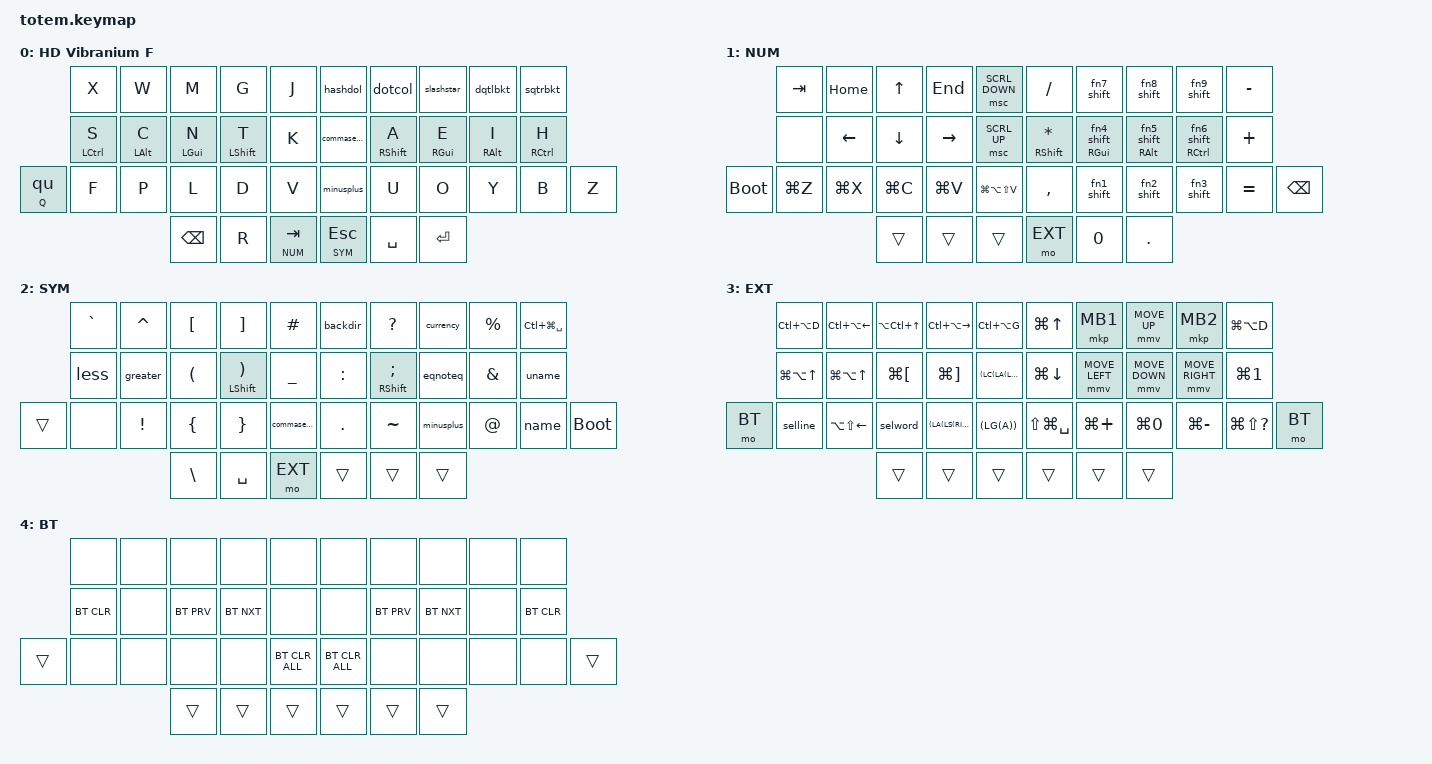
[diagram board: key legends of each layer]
//
//                                                        ▀▀▀▀▀     ▀▀▀▀▀          ▀▀█▀▀
//                                                        ▄▀▀▀▄  ▄  ▄▀▀▀▄  ▄  ▄▀▀▀▄  █  ▄▀▀▀▄
//                                                        █   █  █  █   █  █  █   █  █  █   █
//                                                         ▀▀▀   █   ▀▀▀   █   ▀▀▀   ▀   ▀▀▀
//                                                               █      ▄▄▄█▄▄▄    █   █  
//                                                               ▀      █  █  █     █▄█
//                                                             ▀▀▀▀▀    █  █  █      ▀
//                                                                      ▀  ▀  ▀
//
// ▄▄▄▄▄▄▄▄▄▄▄▄▄▄▄▄▄▄▄▄▄▄▄▄▄▄▄▄▄▄▄▄▄▄▄▄▄▄▄▄▄▄▄▄▄▄▄▄▄▄▄▄▄▄▄▄▄▄▄▄▄▄▄▄▄▄▄▄▄▄▄▄▄▄▄▄▄▄▄▄▄▄▄▄▄▄▄▄▄▄▄▄▄▄▄▄▄▄▄▄▄▄▄▄▄▄▄▄▄▄▄▄▄▄▄▄▄▄▄▄▄▄▄▄▄▄▄▄▄▄▄▄▄▄▄▄▄▄▄▄▄▄▄▄▄▄▄▄▄
       

#include <behaviors.dtsi>
#include <dt-bindings/zmk/keys.h>
#include <dt-bindings/zmk/bt.h>
#include <dt-bindings/zmk/outputs.h>
#include <dt-bindings/zmk/pointing.h>

#define BASE 0
#define NUM  1
#define SYM  2
#define EXT  3
#define BT   4



/ {
     custom_shift {
            dotcol: dot_colon {
                compatible = "zmk,behavior-mod-morph";
                #binding-cells = <0>;
                bindings = <&kp DOT>, <&kp COLON>;
                mods = <(MOD_LSFT|MOD_RSFT)>;
            };
            commasemi: comma_semi {
                compatible = "zmk,behavior-mod-morph";
                #binding-cells = <0>;
                bindings = <&kp COMMA>, <&kp SEMI>;
                mods = <(MOD_LSFT|MOD_RSFT)>;
            };
            hashdol: hash_dollar {
                compatible = "zmk,behavior-mod-morph";
                #binding-cells = <0>;
                bindings = <&kp HASH>, <&kp DOLLAR>;
                mods = <(MOD_LSFT|MOD_RSFT)>;
            };
            slashstar: slash_star {
                compatible = "zmk,behavior-mod-morph";
                #binding-cells = <0>;
                bindings = <&kp SLASH>, <&kp STAR>;
                mods = <(MOD_LSFT|MOD_RSFT)>;
            };
            dqtlbkt: dqt_lbkt {
                compatible = "zmk,behavior-mod-morph";
                #binding-cells = <0>;
                bindings = <&kp DQT>, <&kp LBKT>;
                mods = <(MOD_LSFT|MOD_RSFT)>;
            };
            sqtrbkt: sqt_rbkt {
                compatible = "zmk,behavior-mod-morph";
                #binding-cells = <0>;
                bindings = <&kp SQT>, <&kp RBKT>;
                mods = <(MOD_LSFT|MOD_RSFT)>;
            };
            minusplus: minus_plus {
                compatible = "zmk,behavior-mod-morph";
                #binding-cells = <0>;
                bindings = <&kp MINUS>, <&kp PLUS>;
                mods = <(MOD_LSFT|MOD_RSFT)>;
            };
            eqnoteq: eqnoteq {
                compatible = "zmk,behavior-mod-morph";
                #binding-cells = <0>;
                bindings = <&kp EQUAL>, <&notequal>;
                mods = <(MOD_LSFT|MOD_RSFT)>;
            };
            uname: uname {
                compatible = "zmk,behavior-mod-morph";
                #binding-cells = <0>;
                bindings = <&username>, <&email>;
                mods = <(MOD_LSFT|MOD_RSFT)>;
            };
            name: name {
                compatible = "zmk,behavior-mod-morph";
                #binding-cells = <0>;
                bindings = <&firstname>, <&lastname>;
                mods = <(MOD_LSFT|MOD_RSFT)>;
            };
            currency: currency {
                compatible = "zmk,behavior-mod-morph";
                #binding-cells = <0>;
                bindings = <&kp DOLLAR>, <&kp LA(LS(N2))>;
                mods = <(MOD_LSFT|MOD_RSFT)>;
            };
            less: less {
                compatible = "zmk,behavior-mod-morph";
                #binding-cells = <0>;
                bindings = <&kp LT>, <&lessequal>;
                mods = <(MOD_LSFT|MOD_RSFT)>;
            };
            greater: greater {
                compatible = "zmk,behavior-mod-morph";
                #binding-cells = <0>;
                bindings = <&kp GT>, <&greaterequal>;
                mods = <(MOD_LSFT|MOD_RSFT)>;
            };
            // Shift + Command + Alt + a number sends its bare F key.
            // Keep modifiers during the checks so partial chords remain unchanged;
            // the final morph masks them only after all three have matched.
            fn1_shift: fn1_shift {
                compatible = "zmk,behavior-mod-morph";
                #binding-cells = <0>;
                bindings = <&kp N1>, <&fn1_gui>;
                mods = <(MOD_LSFT|MOD_RSFT)>;
                keep-mods = <(MOD_LSFT|MOD_RSFT)>;
            };
            fn1_gui: fn1_gui {
                compatible = "zmk,behavior-mod-morph";
                #binding-cells = <0>;
                bindings = <&kp N1>, <&fn1_alt>;
                mods = <(MOD_LGUI|MOD_RGUI)>;
                keep-mods = <(MOD_LGUI|MOD_RGUI)>;
            };
            fn1_alt: fn1_alt {
                compatible = "zmk,behavior-mod-morph";
                #binding-cells = <0>;
                bindings = <&kp N1>, <&fn1_clean>;
                mods = <(MOD_LALT|MOD_RALT)>;
                keep-mods = <(MOD_LALT|MOD_RALT)>;
            };
            fn1_clean: fn1_clean {
                compatible = "zmk,behavior-mod-morph";
                #binding-cells = <0>;
                bindings = <&kp N1>, <&kp F1>;
                mods = <(MOD_LSFT|MOD_RSFT|MOD_LGUI|MOD_RGUI|MOD_LALT|MOD_RALT)>;
            };
            fn2_shift: fn2_shift {
                compatible = "zmk,behavior-mod-morph";
                #binding-cells = <0>;
                bindings = <&kp N2>, <&fn2_gui>;
                mods = <(MOD_LSFT|MOD_RSFT)>;
                keep-mods = <(MOD_LSFT|MOD_RSFT)>;
            };
            fn2_gui: fn2_gui {
                compatible = "zmk,behavior-mod-morph";
                #binding-cells = <0>;
                bindings = <&kp N2>, <&fn2_alt>;
                mods = <(MOD_LGUI|MOD_RGUI)>;
                keep-mods = <(MOD_LGUI|MOD_RGUI)>;
            };
            fn2_alt: fn2_alt {
                compatible = "zmk,behavior-mod-morph";
                #binding-cells = <0>;
                bindings = <&kp N2>, <&fn2_clean>;
                mods = <(MOD_LALT|MOD_RALT)>;
                keep-mods = <(MOD_LALT|MOD_RALT)>;
            };
            fn2_clean: fn2_clean {
                compatible = "zmk,behavior-mod-morph";
                #binding-cells = <0>;
                bindings = <&kp N2>, <&kp F2>;
                mods = <(MOD_LSFT|MOD_RSFT|MOD_LGUI|MOD_RGUI|MOD_LALT|MOD_RALT)>;
            };
            fn3_shift: fn3_shift {
                compatible = "zmk,behavior-mod-morph";
                #binding-cells = <0>;
                bindings = <&kp N3>, <&fn3_gui>;
                mods = <(MOD_LSFT|MOD_RSFT)>;
                keep-mods = <(MOD_LSFT|MOD_RSFT)>;
            };
            fn3_gui: fn3_gui {
                compatible = "zmk,behavior-mod-morph";
                #binding-cells = <0>;
                bindings = <&kp N3>, <&fn3_alt>;
                mods = <(MOD_LGUI|MOD_RGUI)>;
                keep-mods = <(MOD_LGUI|MOD_RGUI)>;
            };
            fn3_alt: fn3_alt {
                compatible = "zmk,behavior-mod-morph";
                #binding-cells = <0>;
                bindings = <&kp N3>, <&fn3_clean>;
                mods = <(MOD_LALT|MOD_RALT)>;
                keep-mods = <(MOD_LALT|MOD_RALT)>;
            };
            fn3_clean: fn3_clean {
                compatible = "zmk,behavior-mod-morph";
                #binding-cells = <0>;
                bindings = <&kp N3>, <&kp F3>;
                mods = <(MOD_LSFT|MOD_RSFT|MOD_LGUI|MOD_RGUI|MOD_LALT|MOD_RALT)>;
            };
            fn4_shift: fn4_shift {
                compatible = "zmk,behavior-mod-morph";
                #binding-cells = <0>;
                bindings = <&kp N4>, <&fn4_gui>;
                mods = <(MOD_LSFT|MOD_RSFT)>;
                keep-mods = <(MOD_LSFT|MOD_RSFT)>;
            };
            fn4_gui: fn4_gui {
                compatible = "zmk,behavior-mod-morph";
                #binding-cells = <0>;
                bindings = <&kp N4>, <&fn4_alt>;
                mods = <(MOD_LGUI|MOD_RGUI)>;
                keep-mods = <(MOD_LGUI|MOD_RGUI)>;
            };
            fn4_alt: fn4_alt {
                compatible = "zmk,behavior-mod-morph";
                #binding-cells = <0>;
                bindings = <&kp N4>, <&fn4_clean>;
                mods = <(MOD_LALT|MOD_RALT)>;
                keep-mods = <(MOD_LALT|MOD_RALT)>;
            };
            fn4_clean: fn4_clean {
                compatible = "zmk,behavior-mod-morph";
                #binding-cells = <0>;
                bindings = <&kp N4>, <&kp F4>;
                mods = <(MOD_LSFT|MOD_RSFT|MOD_LGUI|MOD_RGUI|MOD_LALT|MOD_RALT)>;
            };
            fn5_shift: fn5_shift {
                compatible = "zmk,behavior-mod-morph";
                #binding-cells = <0>;
                bindings = <&kp N5>, <&fn5_gui>;
                mods = <(MOD_LSFT|MOD_RSFT)>;
                keep-mods = <(MOD_LSFT|MOD_RSFT)>;
            };
            fn5_gui: fn5_gui {
                compatible = "zmk,behavior-mod-morph";
                #binding-cells = <0>;
                bindings = <&kp N5>, <&fn5_alt>;
                mods = <(MOD_LGUI|MOD_RGUI)>;
                keep-mods = <(MOD_LGUI|MOD_RGUI)>;
            };
            fn5_alt: fn5_alt {
                compatible = "zmk,behavior-mod-morph";
                #binding-cells = <0>;
                bindings = <&kp N5>, <&fn5_clean>;
                mods = <(MOD_LALT|MOD_RALT)>;
                keep-mods = <(MOD_LALT|MOD_RALT)>;
            };
            fn5_clean: fn5_clean {
                compatible = "zmk,behavior-mod-morph";
                #binding-cells = <0>;
                bindings = <&kp N5>, <&kp F5>;
                mods = <(MOD_LSFT|MOD_RSFT|MOD_LGUI|MOD_RGUI|MOD_LALT|MOD_RALT)>;
            };
            fn6_shift: fn6_shift {
                compatible = "zmk,behavior-mod-morph";
                #binding-cells = <0>;
                bindings = <&kp N6>, <&fn6_gui>;
                mods = <(MOD_LSFT|MOD_RSFT)>;
                keep-mods = <(MOD_LSFT|MOD_RSFT)>;
            };
            fn6_gui: fn6_gui {
                compatible = "zmk,behavior-mod-morph";
                #binding-cells = <0>;
                bindings = <&kp N6>, <&fn6_alt>;
                mods = <(MOD_LGUI|MOD_RGUI)>;
                keep-mods = <(MOD_LGUI|MOD_RGUI)>;
            };
            fn6_alt: fn6_alt {
                compatible = "zmk,behavior-mod-morph";
                #binding-cells = <0>;
                bindings = <&kp N6>, <&fn6_clean>;
                mods = <(MOD_LALT|MOD_RALT)>;
                keep-mods = <(MOD_LALT|MOD_RALT)>;
            };
            fn6_clean: fn6_clean {
                compatible = "zmk,behavior-mod-morph";
                #binding-cells = <0>;
                bindings = <&kp N6>, <&kp F6>;
                mods = <(MOD_LSFT|MOD_RSFT|MOD_LGUI|MOD_RGUI|MOD_LALT|MOD_RALT)>;
            };
            fn7_shift: fn7_shift {
                compatible = "zmk,behavior-mod-morph";
                #binding-cells = <0>;
                bindings = <&kp N7>, <&fn7_gui>;
                mods = <(MOD_LSFT|MOD_RSFT)>;
                keep-mods = <(MOD_LSFT|MOD_RSFT)>;
            };
            fn7_gui: fn7_gui {
                compatible = "zmk,behavior-mod-morph";
                #binding-cells = <0>;
                bindings = <&kp N7>, <&fn7_alt>;
                mods = <(MOD_LGUI|MOD_RGUI)>;
                keep-mods = <(MOD_LGUI|MOD_RGUI)>;
            };
            fn7_alt: fn7_alt {
                compatible = "zmk,behavior-mod-morph";
                #binding-cells = <0>;
                bindings = <&kp N7>, <&fn7_clean>;
                mods = <(MOD_LALT|MOD_RALT)>;
                keep-mods = <(MOD_LALT|MOD_RALT)>;
            };
            fn7_clean: fn7_clean {
                compatible = "zmk,behavior-mod-morph";
                #binding-cells = <0>;
                bindings = <&kp N7>, <&kp F7>;
                mods = <(MOD_LSFT|MOD_RSFT|MOD_LGUI|MOD_RGUI|MOD_LALT|MOD_RALT)>;
            };
            fn8_shift: fn8_shift {
                compatible = "zmk,behavior-mod-morph";
                #binding-cells = <0>;
                bindings = <&kp N8>, <&fn8_gui>;
                mods = <(MOD_LSFT|MOD_RSFT)>;
                keep-mods = <(MOD_LSFT|MOD_RSFT)>;
            };
            fn8_gui: fn8_gui {
                compatible = "zmk,behavior-mod-morph";
                #binding-cells = <0>;
                bindings = <&kp N8>, <&fn8_alt>;
                mods = <(MOD_LGUI|MOD_RGUI)>;
                keep-mods = <(MOD_LGUI|MOD_RGUI)>;
            };
            fn8_alt: fn8_alt {
                compatible = "zmk,behavior-mod-morph";
                #binding-cells = <0>;
                bindings = <&kp N8>, <&fn8_clean>;
                mods = <(MOD_LALT|MOD_RALT)>;
                keep-mods = <(MOD_LALT|MOD_RALT)>;
            };
            fn8_clean: fn8_clean {
                compatible = "zmk,behavior-mod-morph";
                #binding-cells = <0>;
                bindings = <&kp N8>, <&kp F8>;
                mods = <(MOD_LSFT|MOD_RSFT|MOD_LGUI|MOD_RGUI|MOD_LALT|MOD_RALT)>;
            };
            fn9_shift: fn9_shift {
                compatible = "zmk,behavior-mod-morph";
                #binding-cells = <0>;
                bindings = <&kp N9>, <&fn9_gui>;
                mods = <(MOD_LSFT|MOD_RSFT)>;
                keep-mods = <(MOD_LSFT|MOD_RSFT)>;
            };
            fn9_gui: fn9_gui {
                compatible = "zmk,behavior-mod-morph";
                #binding-cells = <0>;
                bindings = <&kp N9>, <&fn9_alt>;
                mods = <(MOD_LGUI|MOD_RGUI)>;
                keep-mods = <(MOD_LGUI|MOD_RGUI)>;
            };
            fn9_alt: fn9_alt {
                compatible = "zmk,behavior-mod-morph";
                #binding-cells = <0>;
                bindings = <&kp N9>, <&fn9_clean>;
                mods = <(MOD_LALT|MOD_RALT)>;
                keep-mods = <(MOD_LALT|MOD_RALT)>;
            };
            fn9_clean: fn9_clean {
                compatible = "zmk,behavior-mod-morph";
                #binding-cells = <0>;
                bindings = <&kp N9>, <&kp F9>;
                mods = <(MOD_LSFT|MOD_RSFT|MOD_LGUI|MOD_RGUI|MOD_LALT|MOD_RALT)>;
            };
     };
     custom_behaviors {
            hrl: home_row_mod_left {
                compatible = "zmk,behavior-hold-tap";
                #binding-cells = <2>;
                flavor = "balanced";
                require-prior-idle-ms = <150>;
                tapping-term-ms = <280>;
                bindings = <&kp>, <&kp>;
                hold-trigger-key-positions = <5 6 7 8 9 15 16 17 18 19 26 27 28 29 30 31 35 36 37>;
                hold-trigger-on-release;
            };
            hrr: home_row_mod_right {
                compatible = "zmk,behavior-hold-tap";
                #binding-cells = <2>;
                flavor = "balanced";
                require-prior-idle-ms = <150>;
                tapping-term-ms = <280>;
                bindings = <&kp>, <&kp>;
                hold-trigger-key-positions = <0 1 2 3 4 10 11 12 13 14 20 21 22 23 24 25 32 33 34>;
                hold-trigger-on-release;
            };
            num4_mod: num4_mod_tap {
                compatible = "zmk,behavior-hold-tap";
                #binding-cells = <2>;
                flavor = "balanced";
                require-prior-idle-ms = <150>;
                tapping-term-ms = <280>;
                bindings = <&kp>, <&fn4_shift>;
                hold-trigger-key-positions = <0 1 2 3 4 10 11 12 13 14 20 21 22 23 24 25 32 33 34>;
                hold-trigger-on-release;
            };
            num5_mod: num5_mod_tap {
                compatible = "zmk,behavior-hold-tap";
                #binding-cells = <2>;
                flavor = "balanced";
                require-prior-idle-ms = <150>;
                tapping-term-ms = <280>;
                bindings = <&kp>, <&fn5_shift>;
                hold-trigger-key-positions = <0 1 2 3 4 10 11 12 13 14 20 21 22 23 24 25 32 33 34>;
                hold-trigger-on-release;
            };
            num6_mod: num6_mod_tap {
                compatible = "zmk,behavior-hold-tap";
                #binding-cells = <2>;
                flavor = "balanced";
                require-prior-idle-ms = <150>;
                tapping-term-ms = <280>;
                bindings = <&kp>, <&fn6_shift>;
                hold-trigger-key-positions = <0 1 2 3 4 10 11 12 13 14 20 21 22 23 24 25 32 33 34>;
                hold-trigger-on-release;
            };
            hsl: shift_home_row_left {
                compatible = "zmk,behavior-hold-tap";
                #binding-cells = <2>;
                flavor = "balanced";
                require-prior-idle-ms = <80>;
                tapping-term-ms = <280>;
                bindings = <&kp>, <&kp>;
                hold-trigger-key-positions =
                    <5 6 7 8 9 15 16 17 18 19 26 27 28 29 30 31 35 36 37>;
                hold-trigger-on-release;
            };

            hsr: shift_home_row_right {
                compatible = "zmk,behavior-hold-tap";
                #binding-cells = <2>;
                flavor = "balanced";
                require-prior-idle-ms = <80>;
                tapping-term-ms = <280>;
                bindings = <&kp>, <&kp>;
                hold-trigger-key-positions =
                    <0 1 2 3 4 10 11 12 13 14 20 21 22 23 24 25 32 33 34>;
                hold-trigger-on-release;
            };
            lk_QU: linger_key_QU {
                compatible = "zmk,behavior-hold-tap";
                #binding-cells = <2>;
                bindings = <&kp>, <&qu>;
                tapping-term-ms = <150>;
                quick-tap-ms = <0>;
                flavor = "tap-preferred";
            };
     };
//             ┏━━━┳━━━┳━━━┳━━━┳━━━┓   ┏━━━┳━━━┳━━━┳━━━┳━━━┓
//             ┃ 0 ┃ 1 ┃ 2 ┃ 3 ┃ 4 ┃   ┃ 5 ┃ 6 ┃ 7 ┃ 8 ┃ 9 ┃
//             ┣━━━╋━━━╋━━━╋━━━╋━━━┫   ┣━━━╋━━━╋━━━╋━━━╋━━━┫
//             ┃ 10┃ 11┃ 12┃ 13┃ 14┃   ┃ 15┃ 16┃ 17┃ 18┃ 19┃
//         ┏━━━╋━━━╋━━━╋━━━╋━━━╋━━━┫   ┣━━━╋━━━╋━━━╋━━━╋━━━╋━━━┓
//         ┃ 20┃ 21┃ 22┃ 23┃ 24┃ 25┃   ┃ 26┃ 27┃ 28┃ 29┃ 30┃ 31┃
//         ┗━━━┻━━━┻━━━╋━━━╋━━━╋━━━┫   ┣━━━╋━━━╋━━━╋━━━┻━━━┻━━━┛
//                     ┃ 32┃ 33┃ 34┃   ┃ 35┃ 36┃ 37┃
//                     ┗━━━┻━━━┻━━━┛   ┗━━━┻━━━┻━━━┛
     combos {
            compatible = "zmk,combos";
            combo_caps {
                timeout-ms = <50>;
                key-positions = <13 16>;
                bindings = <&caps_word>;
                require-prior-idle-ms = <150>;
            };
            combo_pipe {
                timeout-ms = <50>;
                key-positions = <16 17>;
                bindings = <&kp PIPE>;
                require-prior-idle-ms = <150>;
            };
            combo_esc {
                timeout-ms = <50>;
                key-positions = <0 1>;
                bindings = <&kp ESC>;
                require-prior-idle-ms = <150>;
            };
           combo_th {
                timeout-ms = <50>;
                key-positions = <12 13>;
                bindings = <&th>;
           };
           combo_sh {
                timeout-ms = <50>;
                key-positions = <11 13>;
                bindings = <&sh>;
           };
           combo_ch {
                timeout-ms = <50>;
                key-positions = <11 12>;
                bindings = <&ch>;
           };
           combo_tch {
                timeout-ms = <50>;
                key-positions = <11 12 13>;
                bindings = <&tch>;
           };
           combo_sch {
                timeout-ms = <50>;
                key-positions = <10 11 12>;
                bindings = <&sch>;
           };
           combo_gh {
                timeout-ms = <50>;
                key-positions = <2 3>;
                bindings = <&gh>;
           };
           combo_wh {
                timeout-ms = <50>;
                key-positions = <1 2>;
                bindings = <&wh>;
           };
           combo_ph {
                timeout-ms = <50>;
                key-positions = <22 23>;
                bindings = <&ph>;
           };
           combo_reset {
                timeout-ms = <50>;
                layers = <3>;
                key-positions = <20 31>;
                bindings = <&sys_reset>;
                require-prior-idle-ms = <150>;
           };
           combo_scap {
                timeout-ms = <50>;
                key-positions = <16 18>;
                bindings = <&kp LG(LS(N4))>;
                require-prior-idle-ms = <150>;
           };
           combo_exclaim {
                timeout-ms = <50>;
                key-positions = <6 7>;
                bindings = <&kp EXCL>;
           };
           combo_question {
                timeout-ms = <50>;
                key-positions = <7 8>;
                bindings = <&kp QUESTION>;
           };
           combo_guillemet {
                timeout-ms = <50>;
                key-positions = <8 9>;
                bindings = <&guillemet>;
           };
           combo_dotcom {
                timeout-ms = <40>;
                key-positions = <27 28>;
                bindings = <&dotcom>;
                require-prior-idle-ms = <150>;
           };
           combo_dotfr {
                timeout-ms = <40>;
                key-positions = <28 29>;
                bindings = <&dotfr>;
                require-prior-idle-ms = <150>;
           };
           combo_gmail {
                timeout-ms = <50>;
                key-positions = <27 28 29>;
                bindings = <&gmail>;
                require-prior-idle-ms = <150>;
           };
           combo_stickshift {
                timeout-ms = <40>;
                key-positions = <12 17>;
                bindings = <&sk LSHIFT>;
                require-prior-idle-ms = <150>;
           };
    };

    macros {
        th: th {
            compatible = "zmk,behavior-macro";
            #binding-cells = <0>;
            tap-ms = <1>;
            wait-ms = <1>;
            bindings = <&kp T &kp H>;
        };
        sh: sh {
            compatible = "zmk,behavior-macro";
            #binding-cells = <0>;
            tap-ms = <1>;
            wait-ms = <1>;
            bindings = <&kp S &kp H>;
        };
        ch: ch {
            compatible = "zmk,behavior-macro";
            #binding-cells = <0>;
            tap-ms = <1>;
            wait-ms = <1>;
            bindings = <&kp C &kp H>;
        };
        wh: wh {
            compatible = "zmk,behavior-macro";
            #binding-cells = <0>;
            tap-ms = <1>;
            wait-ms = <1>;
            bindings = <&kp W &kp H>;
        };
        ph: ph {
            compatible = "zmk,behavior-macro";
            #binding-cells = <0>;
            tap-ms = <1>;
            wait-ms = <1>;
            bindings = <&kp P &kp H>;
        };
        gh: gh {
            compatible = "zmk,behavior-macro";
            #binding-cells = <0>;
            tap-ms = <1>;
            wait-ms = <1>;
            bindings = <&kp G &kp H>;
        };
        tch: tch {
            compatible = "zmk,behavior-macro";
            #binding-cells = <0>;
            tap-ms = <1>;
            wait-ms = <1>;
            bindings = <&kp T &kp C &kp H>;
        };
        sch: sch {
            compatible = "zmk,behavior-macro";
            #binding-cells = <0>;
            tap-ms = <1>;
            wait-ms = <1>;
            bindings = <&kp S &kp C &kp H>;
        };
        qu: qu {
            compatible = "zmk,behavior-macro";
            #binding-cells = <0>;
            bindings = <&kp Q &kp U>;
        };
        backdir: backdir {
            compatible = "zmk,behavior-macro";
            #binding-cells = <0>;
            bindings = <&kp DOT &kp DOT &kp SLASH>;
        };
        notequal: notequal {
            compatible = "zmk,behavior-macro";
            #binding-cells = <0>;
            tap-ms = <1>;
            wait-ms = <1>;
            bindings = <&kp EXCL &kp EQUAL>;
        };
        lessequal: lessequal {
            compatible = "zmk,behavior-macro";
            #binding-cells = <0>;
            tap-ms = <1>;
            wait-ms = <1>;
            bindings = <&kp LT &kp EQUAL>;
        };
        greaterequal: greaterequal {
            compatible = "zmk,behavior-macro";
            #binding-cells = <0>;
            tap-ms = <1>;
            wait-ms = <1>;
            bindings = <&kp GT &kp EQUAL>;
        };
        username: username {
            compatible = "zmk,behavior-macro";
            #binding-cells = <0>;
            tap-ms = <1>;
            wait-ms = <1>;
            bindings = <
                &macro_tap &kp W
                &macro_tap &kp I
                &macro_tap &kp L
                &macro_tap &kp L
                &macro_tap &kp I
                &macro_tap &kp A
                &macro_tap &kp M
                &macro_tap &kp S
                &macro_tap &kp J
                &macro_tap &kp A
                &macro_tap &kp G
            >;
        };
        email: email {
            compatible = "zmk,behavior-macro";
            #binding-cells = <0>;
            tap-ms = <1>;
            wait-ms = <1>;
            bindings = <
                &username
                &macro_tap &kp AT
                &macro_tap &kp G
                &macro_tap &kp M
                &macro_tap &kp A
                &macro_tap &kp I
                &macro_tap &kp L
                &macro_tap &kp DOT
                &macro_tap &kp C
                &macro_tap &kp O
                &macro_tap &kp M
            >;
        };
        firstname: firstname {
            compatible = "zmk,behavior-macro";
            #binding-cells = <0>;
            tap-ms = <1>;
            wait-ms = <1>;
            bindings = <
                &macro_press &kp LSFT
                &macro_tap &kp J
                &macro_release &mo LSFT
                &macro_tap &kp A
                &macro_tap &kp C
                &macro_tap &kp K
                &macro_tap &kp S
                &macro_tap &kp O
                &macro_tap &kp N
            >;
        };
        lastname: lastname {
            compatible = "zmk,behavior-macro";
            #binding-cells = <0>;
            tap-ms = <1>;
            wait-ms = <1>;
            bindings = <
                &firstname 
                &macro_tap &kp SPACE
                &macro_press &kp LSFT
                &macro_tap &kp W
                &macro_release &mo LSFT
                &macro_tap &kp I
                &macro_tap &kp L
                &macro_tap &kp L
                &macro_tap &kp I
                &macro_tap &kp A
                &macro_tap &kp M
                &macro_tap &kp S
            >;
        };
	
        guillemet: guillemet {
            compatible = "zmk,behavior-macro";
            #binding-cells = <0>;
            tap-ms = <1>;
            wait-ms = <1>;
            bindings = <&kp COLON &kp G &kp U &kp I>;
        };
        dotcom: dotcom {
            compatible = "zmk,behavior-macro";
            #binding-cells = <0>;
            tap-ms = <1>;
            wait-ms = <1>;
            bindings = <&kp DOT &kp C &kp O &kp M>;
        };
        dotfr: dotfr {
            compatible = "zmk,behavior-macro";
            #binding-cells = <0>;
            tap-ms = <1>;
            wait-ms = <1>;
            bindings = <&kp DOT &kp F &kp R>;
        };
        gmail: gmail {
            compatible = "zmk,behavior-macro";
            #binding-cells = <0>;
            tap-ms = <1>;
            wait-ms = <1>;
            bindings = <&kp AT &kp G &kp M &kp A &kp I &kp L &kp DOT &kp C &kp O &kp M>;
        };
        selline: selline {
            compatible = "zmk,behavior-macro";
            #binding-cells = <0>;
            bindings = <&kp LC(A) &kp LC(LS(E))>;
        };
        selword: selword {
            compatible = "zmk,behavior-macro";
            #binding-cells = <0>;
            bindings = <&kp LA(LEFT) &kp LA(LS(RIGHT))>;
        };
        gif: gif {
            compatible = "zmk,behavior-macro";
            label = "giphy";
            #binding-cells = <0>;
            bindings
                = <&macro_press &kp LSHFT>
                , <&macro_tap &kp N2>
                , <&macro_release &kp LSHFT>
                , <&macro_tap &kp G &kp I &kp F>
                ;
        };
    };

        keymap {
                compatible = "zmk,keymap";
// ▄▄▄▄▄▄▄▄▄▄▄▄▄▄▄▄▄▄▄▄▄▄▄▄▄▄▄▄▄▄▄▄▄▄▄▄▄▄▄▄▄▄▄▄▄▄▄▄▄▄▄▄▄▄▄▄▄▄▄▄▄▄▄▄▄▄▄▄▄▄▄▄▄▄▄▄▄▄▄▄▄▄▄▄▄▄▄▄▄▄▄▄▄▄▄▄▄▄▄▄▄▄▄▄▄▄▄▄▄▄▄▄▄▄▄▄▄▄▄▄▄▄▄▄▄▄▄▄▄▄▄▄▄▄▄▄▄▄▄▄▄▄▄▄▄▄▄▄▄

                base_layer {
// ┏━━━━━━━━━━━━━━━━━━━━━━━━━━━━━━━━━━━━━━━┓
label= "HD Vibranium F"                    ;
// ┗━━━━━━━━━━━━━━━━━━━━━━━━━━━━━━━━━━━━━━━┛
//             ┏━━━━━━━━━━━┳━━━━━━━━━━━┳━━━━━━━━━━━┳━━━━━━━━━━━┳━━━━━━━━━━━┓   ┏━━━━━━━━━━━┳━━━━━━━━━━━┳━━━━━━━━━━━┳━━━━━━━━━━━┳━━━━━━━━━━━┓
//             ┃     X     ┃     W     ┃     M     ┃     G     ┃     J     ┃   ┃     #     ┃     .     ┃     /     ┃     "     ┃     '     ┃
//             ┣━━━━━━━━━━━╋━━━━━━━━━━━╋━━━━━━━━━━━╋━━━━━━━━━━━╋━━━━━━━━━━━┫   ┣━━━━━━━━━━━╋━━━━━━━━━━━╋━━━━━━━━━━━╋━━━━━━━━━━━╋━━━━━━━━━━━┫
//             ┃     S     ┃     C     ┃     N     ┃     T     ┃     K     ┃   ┃     ,     ┃     A     ┃     E     ┃     I     ┃     H     ┃
// ┏━━━━━━━━━━━╋━━━━━━━━━━━╋━━━━━━━━━━━╋━━━━━━━━━━━╋━━━━━━━━━━━╋━━━━━━━━━━━┫   ┣━━━━━━━━━━━╋━━━━━━━━━━━╋━━━━━━━━━━━╋━━━━━━━━━━━╋━━━━━━━━━━━╋━━━━━━━━━━━┓
// ┃     QU    ┃     F     ┃     P     ┃     L     ┃     D     ┃     V     ┃   ┃     -     ┃     U     ┃     O     ┃     Y     ┃     B     ┃     Z     ┃
// ┗━━━━━━━━━━━┻━━━━━━━━━━━┻━━━━━━━━━━━╋━━━━━━━━━━━╋━━━━━━━━━━━╋━━━━━━━━━━━┫   ┣━━━━━━━━━━━╋━━━━━━━━━━━╋━━━━━━━━━━━╋━━━━━━━━━━━┻━━━━━━━━━━━┻━━━━━━━━━━━┛
//                                     ┃    BSCP   ┃     R     ┃    NUM    ┃   ┃    SYM    ┃    SPC    ┃  RETURN   ┃
//                                     ┗━━━━━━━━━━━┻━━━━━━━━━━━┻━━━━━━━━━━━┛   ┗━━━━━━━━━━━┻━━━━━━━━━━━┻━━━━━━━━━━━┛
 bindings = <
// ╷           ╷           ╷           ╷           ╷           ╷           ╷   ╷           ╷           ╷           ╷           ╷           ╷           ╷

                &kp X       &kp W       &kp M       &kp G       &kp J           &hashdol    &dotcol     &slashstar  &dqtlbkt    &sqtrbkt
               &hrl LCTRL S &hrl LALT C &hrl LGUI N &hsl LSHFT T &kp K          &commasemi &hsr RSHFT A &hrr RGUI E &hrr RALT I &hrr RCTRL H
    &lk_QU Q 0  &kp F       &kp P       &kp L       &kp D       &kp V           &minusplus  &kp U       &kp O       &kp Y       &kp B       &kp Z
                                        &kp BSPC    &kp R       &lt NUM TAB     &lt SYM ESC &kp SPACE   &kp RETURN
                        >;
                };

// ▄▄▄▄▄▄▄▄▄▄▄▄▄▄▄▄▄▄▄▄▄▄▄▄▄▄▄▄▄▄▄▄▄▄▄▄▄▄▄▄▄▄▄▄▄▄▄▄▄▄▄▄▄▄▄▄▄▄▄▄▄▄▄▄▄▄▄▄▄▄▄▄▄▄▄▄▄▄▄▄▄▄▄▄▄▄▄▄▄▄▄▄▄▄▄▄▄▄▄▄▄▄▄▄▄▄▄▄▄▄▄▄▄▄▄▄▄▄▄▄▄▄▄▄▄▄▄▄▄▄▄▄▄▄▄▄▄▄▄▄▄▄▄▄▄▄▄▄▄


                nav_layer {
// ┏━━━━━━━━━━━━━━━━━━━━━━━━━━━━━━━━━━━━━━━┓
label= "NUM"                               ;
// ┗━━━━━━━━━━━━━━━━━━━━━━━━━━━━━━━━━━━━━━━┛
//             ┏━━━━━━━━━━━┳━━━━━━━━━━━┳━━━━━━━━━━━┳━━━━━━━━━━━┳━━━━━━━━━━━┓   ┏━━━━━━━━━━━┳━━━━━━━━━━━┳━━━━━━━━━━━┳━━━━━━━━━━━┳━━━━━━━━━━━┓
//             ┃    TAB    ┃   HOME    ┃     UP    ┃    END    ┃ SCROLL UP ┃   ┃     /     ┃     7     ┃     8     ┃     9     ┃     -     ┃
//             ┣━━━━━━━━━━━╋━━━━━━━━━━━╋━━━━━━━━━━━╋━━━━━━━━━━━╋━━━━━━━━━━━┫   ┣━━━━━━━━━━━╋━━━━━━━━━━━╋━━━━━━━━━━━╋━━━━━━━━━━━╋━━━━━━━━━━━┫
//             ┃           ┃   LEFT    ┃    DOWN   ┃   RIGHT   ┃ SCROLL DN ┃   ┃     *     ┃     4     ┃     5     ┃     6     ┃     +     ┃
// ┏━━━━━━━━━━━╋━━━━━━━━━━━╋━━━━━━━━━━━╋━━━━━━━━━━━╋━━━━━━━━━━━╋━━━━━━━━━━━┫   ┣━━━━━━━━━━━╋━━━━━━━━━━━╋━━━━━━━━━━━╋━━━━━━━━━━━╋━━━━━━━━━━━╋━━━━━━━━━━━┓
// ┃   RESET   ┃   UNDO    ┃   CUT     ┃    COPY   ┃   PASTE   ┃ PASTEMTCH ┃   ┃     ,     ┃     1     ┃     2     ┃     3     ┃     =     ┃           ┃
// ┗━━━━━━━━━━━┻━━━━━━━━━━━┻━━━━━━━━━━━╋━━━━━━━━━━━╋━━━━━━━━━━━╋━━━━━━━━━━━┫   ┣━━━━━━━━━━━╋━━━━━━━━━━━╋━━━━━━━━━━━╋━━━━━━━━━━━┻━━━━━━━━━━━┻━━━━━━━━━━━┛
//                                     ┃           ┃           ┃  XXXXXXX  ┃   ┃    EXT    ┃     0     ┃     .     ┃
//                                     ┗━━━━━━━━━━━┻━━━━━━━━━━━┻━━━━━━━━━━━┛   ┗━━━━━━━━━━━┻━━━━━━━━━━━┻━━━━━━━━━━━┛
 bindings = <
// ╷           ╷           ╷           ╷           ╷           ╷           ╷   ╷           ╷           ╷           ╷           ╷           ╷           ╷

                &kp TAB     &kp HOME    &kp UP      &kp END     &msc SCRL_DOWN   &kp SLASH      &fn7_shift     &fn8_shift     &fn9_shift     &kp MINUS
                &none       &kp LEFT    &kp DOWN    &kp RIGHT   &msc SCRL_UP    &hsr RSHFT STAR &num4_mod RGUI 0 &num5_mod RALT 0 &num6_mod RCTRL 0 &kp PLUS
    &bootloader &kp LG(Z)   &kp LG(X)   &kp LG(C)   &kp LG(V)  &kp LG(LA(LS(V))) &kp COMMA      &fn1_shift     &fn2_shift     &fn3_shift     &kp EQUAL      &kp BSPC
                                        &trans      &trans      &trans           &mo EXT        &kp N0      &kp DOT
                        >;
                };

// ▄▄▄▄▄▄▄▄▄▄▄▄▄▄▄▄▄▄▄▄▄▄▄▄▄▄▄▄▄▄▄▄▄▄▄▄▄▄▄▄▄▄▄▄▄▄▄▄▄▄▄▄▄▄▄▄▄▄▄▄▄▄▄▄▄▄▄▄▄▄▄▄▄▄▄▄▄▄▄▄▄▄▄▄▄▄▄▄▄▄▄▄▄▄▄▄▄▄▄▄▄▄▄▄▄▄▄▄▄▄▄▄▄▄▄▄▄▄▄▄▄▄▄▄▄▄▄▄▄▄▄▄▄▄▄▄▄▄▄▄▄▄▄▄▄▄▄▄▄


                sym_layer {
// ┏━━━━━━━━━━━━━━━━━━━━━━━━━━━━━━━━━━━━━━━┓
label= "SYM"                               ;
// ┗━━━━━━━━━━━━━━━━━━━━━━━━━━━━━━━━━━━━━━━┛
//             ┏━━━━━━━━━━━┳━━━━━━━━━━━┳━━━━━━━━━━━┳━━━━━━━━━━━┳━━━━━━━━━━━┓   ┏━━━━━━━━━━━┳━━━━━━━━━━━┳━━━━━━━━━━━┳━━━━━━━━━━━┳━━━━━━━━━━━┓
//             ┃     `     ┃     ^     ┃     [     ┃     ]     ┃     #     ┃   ┃    ../    ┃     ?     ┃     $     ┃     %     ┃   EMOJI   ┃
//             ┣━━━━━━━━━━━╋━━━━━━━━━━━╋━━━━━━━━━━━╋━━━━━━━━━━━╋━━━━━━━━━━━┫   ┣━━━━━━━━━━━╋━━━━━━━━━━━╋━━━━━━━━━━━╋━━━━━━━━━━━╋━━━━━━━━━━━┫
//             ┃     <     ┃     >     ┃     (     ┃     )     ┃     _     ┃   ┃     :     ┃     ;     ┃     =     ┃     &     ┃   UNAME   ┃
// ┏━━━━━━━━━━━╋━━━━━━━━━━━╋━━━━━━━━━━━╋━━━━━━━━━━━╋━━━━━━━━━━━╋━━━━━━━━━━━┫   ┣━━━━━━━━━━━╋━━━━━━━━━━━╋━━━━━━━━━━━╋━━━━━━━━━━━╋━━━━━━━━━━━╋━━━━━━━━━━━┓
// ┃           ┃           ┃     !     ┃     {     ┃     }     ┃     ,     ┃   ┃     .     ┃     ~     ┃     -     ┃     @     ┃   NAME    ┃    RESET  ┃
// ┗━━━━━━━━━━━┻━━━━━━━━━━━┻━━━━━━━━━━━╋━━━━━━━━━━━╋━━━━━━━━━━━╋━━━━━━━━━━━┫   ┣━━━━━━━━━━━╋━━━━━━━━━━━╋━━━━━━━━━━━╋━━━━━━━━━━━┻━━━━━━━━━━━┻━━━━━━━━━━━┛
//                                     ┃     \     ┃   SPACE   ┃    EXT    ┃   ┃  XXXXXXX  ┃           ┃           ┃
//                                     ┗━━━━━━━━━━━┻━━━━━━━━━━━┻━━━━━━━━━━━┛   ┗━━━━━━━━━━━┻━━━━━━━━━━━┻━━━━━━━━━━━┛
 bindings = <
// ╷           ╷           ╷           ╷           ╷           ╷           ╷   ╷           ╷           ╷           ╷           ╷           ╷           ╷

                &kp GRAVE   &kp CARET   &kp LBKT    &kp RBKT    &kp HASH        &backdir    &kp QMARK     &currency   &kp PERCENT  &kp LC(LG(SPACE))
                &less       &greater    &kp LPAR    &hsl LSHFT RPAR &kp UNDER   &kp COLON &hsr RSHFT SEMI &eqnoteq    &kp AMPS     &uname
    &trans      &none       &kp EXCL    &kp LBRC    &kp RBRC    &commasemi      &kp DOT     &kp TILDE     &minusplus  &kp AT       &name   &bootloader
                                        &kp BSLH    &kp SPACE   &mo EXT         &trans      &trans        &trans
                        >;
                };

// ▄▄▄▄▄▄▄▄▄▄▄▄▄▄▄▄▄▄▄▄▄▄▄▄▄▄▄▄▄▄▄▄▄▄▄▄▄▄▄▄▄▄▄▄▄▄▄▄▄▄▄▄▄▄▄▄▄▄▄▄▄▄▄▄▄▄▄▄▄▄▄▄▄▄▄▄▄▄▄▄▄▄▄▄▄▄▄▄▄▄▄▄▄▄▄▄▄▄▄▄▄▄▄▄▄▄▄▄▄▄▄▄▄▄▄▄▄▄▄▄▄▄▄▄▄▄▄▄▄▄▄▄▄▄▄▄▄▄▄▄▄▄▄▄▄▄▄▄▄


                ext_layer {
// ┏━━━━━━━━━━━━━━━━━━━━━━━━━━━━━━━━━━━━━━━┓
label= "EXT"                               ;
// ┗━━━━━━━━━━━━━━━━━━━━━━━━━━━━━━━━━━━━━━━┛
//             ┏━━━━━━━━━━━┳━━━━━━━━━━━┳━━━━━━━━━━━┳━━━━━━━━━━━┳━━━━━━━━━━━┓   ┏━━━━━━━━━━━┳━━━━━━━━━━━┳━━━━━━━━━━━┳━━━━━━━━━━━┳━━━━━━━━━━━┓
//             ┃   WL 1/4  ┃  WL 1/2   ┃   WC 1/2  ┃  WR 1/2   ┃   WR 1/4  ┃   ┃ DOC START ┃  L CLICK  ┃   MS UP   ┃  R CLICK  ┃   DEFINE  ┃
//             ┣━━━━━━━━━━━╋━━━━━━━━━━━╋━━━━━━━━━━━╋━━━━━━━━━━━╋━━━━━━━━━━━┫   ┣━━━━━━━━━━━╋━━━━━━━━━━━╋━━━━━━━━━━━╋━━━━━━━━━━━╋━━━━━━━━━━━┫
//             ┃ PREV TAB  ┃ NEXT TAB  ┃ BRWS BACK ┃ BRWS FWD  ┃    GPT    ┃   ┃  DOC END  ┃  MS LEFT  ┃  MS DOWN  ┃ MS RIGHT  ┃ TRANSLATE ┃
// ┏━━━━━━━━━━━╋━━━━━━━━━━━╋━━━━━━━━━━━╋━━━━━━━━━━━╋━━━━━━━━━━━╋━━━━━━━━━━━┫   ┣━━━━━━━━━━━╋━━━━━━━━━━━╋━━━━━━━━━━━╋━━━━━━━━━━━╋━━━━━━━━━━━╋━━━━━━━━━━━┓
// ┃ BLUETOOTH ┃  SEL LINE ┃ SEL W L   ┃   SEL W   ┃  SEL W R  ┃  SEL ALL  ┃   ┃   1PASS   ┃ ZOOM IN   ┃RESET ZOOM ┃ ZOOM OUT  ┃    HELP   ┃ BLUETOOTH ┃
// ┗━━━━━━━━━━━┻━━━━━━━━━━━┻━━━━━━━━━━━╋━━━━━━━━━━━╋━━━━━━━━━━━╋━━━━━━━━━━━┫   ┣━━━━━━━━━━━╋━━━━━━━━━━━╋━━━━━━━━━━━╋━━━━━━━━━━━┻━━━━━━━━━━━┻━━━━━━━━━━━┛
//                                     ┃           ┃           ┃ XXXXXXXXX ┃   ┃ XXXXXXXXX ┃           ┃           ┃
//                                     ┗━━━━━━━━━━━┻━━━━━━━━━━━┻━━━━━━━━━━━┛   ┗━━━━━━━━━━━┻━━━━━━━━━━━┻━━━━━━━━━━━┛
 bindings = <
// ╷           ╷           ╷           ╷           ╷           ╷           ╷   ╷           ╷           ╷           ╷           ╷           ╷           ╷

        &kp LC(LA(D)) &kp LC(LA(LEFT)) &kp LA(LC(UP)) &kp LC(LA(RIGHT)) &kp LC(LA(G))      &kp LG(UP)        &mkp MB1       &mmv MOVE_UP   &mkp MB2   &kp LG(LA(D))
        &kp LG(LA(UP)) &kp LG(LA(UP))  &kp LG(LBKT)   &kp LG(RBKT) &kp (LC(LA(LG(SPACE)))) &kp LG(DOWN)      &mmv MOVE_LEFT &mmv MOVE_DOWN &mmv MOVE_RIGHT &kp LG(N1)
 &mo BT &selline      &kp LA(LS(LEFT)) &selword       &kp (LA(LS(RIGHT))) &kp (LG(A))      &kp LS(LG(SPACE)) &kp LG(PLUS)   &kp LG(N0)     &kp LG(MINUS) &kp LG(LS(QUESTION)) &mo BT
                                        &trans      &trans      &trans          &trans      &trans      &trans      
                        >;
                };
                
                bt_layer {
// ┏━━━━━━━━━━━━━━━━━━━━━━━━━━━━━━━━━━━━━━━┓
label= "BT"                                ;
// ┗━━━━━━━━━━━━━━━━━━━━━━━━━━━━━━━━━━━━━━━┛
//             ┏━━━━━━━━━━━┳━━━━━━━━━━━┳━━━━━━━━━━━┳━━━━━━━━━━━┳━━━━━━━━━━━┓   ┏━━━━━━━━━━━┳━━━━━━━━━━━┳━━━━━━━━━━━┳━━━━━━━━━━━┳━━━━━━━━━━━┓
//             ┃           ┃           ┃           ┃           ┃           ┃   ┃           ┃           ┃           ┃           ┃           ┃
//             ┣━━━━━━━━━━━╋━━━━━━━━━━━╋━━━━━━━━━━━╋━━━━━━━━━━━╋━━━━━━━━━━━┫   ┣━━━━━━━━━━━╋━━━━━━━━━━━╋━━━━━━━━━━━╋━━━━━━━━━━━╋━━━━━━━━━━━┫
//             ┃  BT CLR   ┃           ┃   BT PRV  ┃  BT NXT   ┃           ┃   ┃           ┃  BT PRV   ┃  BT NXT   ┃           ┃  BT CLR   ┃
// ┏━━━━━━━━━━━╋━━━━━━━━━━━╋━━━━━━━━━━━╋━━━━━━━━━━━╋━━━━━━━━━━━╋━━━━━━━━━━━┫   ┣━━━━━━━━━━━╋━━━━━━━━━━━╋━━━━━━━━━━━╋━━━━━━━━━━━╋━━━━━━━━━━━╋━━━━━━━━━━━┓
// ┃           ┃           ┃           ┃           ┃           ┃ BT CLRALL ┃   ┃ BT CLRALL ┃           ┃           ┃           ┃           ┃           ┃
// ┗━━━━━━━━━━━┻━━━━━━━━━━━┻━━━━━━━━━━━╋━━━━━━━━━━━╋━━━━━━━━━━━╋━━━━━━━━━━━┫   ┣━━━━━━━━━━━╋━━━━━━━━━━━╋━━━━━━━━━━━╋━━━━━━━━━━━┻━━━━━━━━━━━┻━━━━━━━━━━━┛
//                                     ┃           ┃           ┃           ┃   ┃           ┃           ┃           ┃
//                                     ┗━━━━━━━━━━━┻━━━━━━━━━━━┻━━━━━━━━━━━┛   ┗━━━━━━━━━━━┻━━━━━━━━━━━┻━━━━━━━━━━━┛
 bindings = <
// ╷           ╷           ╷           ╷           ╷           ╷           ╷   ╷           ╷           ╷           ╷           ╷           ╷           ╷

                &none       &none       &none       &none        &none           &none       &none       &none       &none       &none
                &bt BT_CLR  &none       &bt BT_PRV  &bt BT_NXT   &none           &none       &bt BT_PRV  &bt BT_NXT  &none       &bt BT_CLR
      &trans    &none       &none       &none       &none        &bt BT_CLR_ALL  &bt BT_CLR_ALL &none    &none       &none       &none       &trans
                                        &trans      &trans       &trans          &trans      &trans      &trans      
                        >;
                };
        };
};
